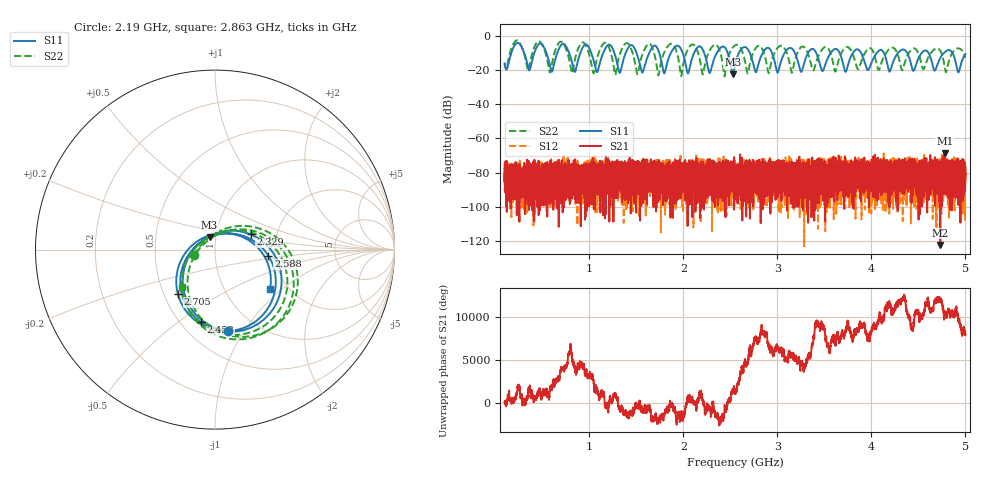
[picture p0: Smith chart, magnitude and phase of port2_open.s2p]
!Keysight Technologies N9917A: A.13.25
!Date: Thursday, 15 October 2026 16:17:29
!Timezone: (UTC-08:00) Pacific Time (US & Canada)
!Model: N9917A
!Serial: MY56072049
!GPS Latitude:
!GPS Longitude:
!GPS TimeStamp: 0001-01-01 00:00:00Z
!GPS Seconds Since Last Read: 0
!CHECKSUM:0928932487
!Correction: S11(Rdy)S21(Rdy)S12(Rdy)S22(Rdy)
!S2P File: Measurements:S11,S21,S12,S22:
# Hz S DB R 50
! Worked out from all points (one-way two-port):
!   10001 points, 100 MHz to 5 GHz, reference 50 ohm
!   highest |S21| = -68.65 dB at 4.779 GHz (marker M1); lowest = -122.4 dB at 4.733 GHz (marker M2)
!   lowest |S11| = -22.5 dB at 2.526 GHz (marker M3), VSWR 1.16, Z = 46.7 + j6.43 ohm
!   |S11| at or under -10 dB: 3.412 GHz to 3.569 GHz (157.1 MHz wide, 4.5 % of centre); 3.889 GHz to 4.06 GHz (170.5 MHz wide, 4.29 % of centre); 4.607 GHz to 4.774 GHz (166.2 MHz wide, 3.54 % of centre) (the widest 3 of 21)
!   |S22| runs from -23.8 to -2.8 dB; largest |S21 - S12| = 0.00046
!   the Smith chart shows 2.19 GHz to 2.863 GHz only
!   S11 on the Smith chart (normalised r, x): 2.19 GHz: 0.74, -0.85; 2.329 GHz: 1.47, +0.26; 2.453 GHz: 0.63, -0.61; 2.588 GHz: 1.84, -0.14; 2.705 GHz: 0.59, -0.32; 2.863 GHz: 1.62, -0.83
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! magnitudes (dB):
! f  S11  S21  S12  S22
! 100 MHz  -16.3  -81.7  -77.2  -16.4
! 584.1 MHz  -17.9  -81.6  -76.3  -21.5
! 698.8 MHz  -5.6  -92.4  -80.2  -3.5
! 818.3 MHz  -15.9  -87.0  -75.6  -21.9
! 916.8 MHz  -8.5  -88.5  -80.1  -4.3
! 1.278 GHz  -12.0  -78.2  -78.1  -23.0
! 1.642 GHz  -9.6  -85.0  -84.7  -4.8
! 1.734 GHz  -8.5  -73.8  -81.3  -23.2
! 1.87 GHz  -9.9  -84.7  -87.2  -4.7
! 2.19 GHz  -6.7  -73.5  -82.3  -18.4
! 2.329 GHz  -13.3  -86.9  -85.3  -5.5
! 2.453 GHz  -7.7  -72.6  -77.1  -19.4
! 2.526 GHz  -22.5  -82.0  -77.1  -7.0
! 2.55 GHz  -16.9  -81.9  -81.4  -5.7
! 2.588 GHz  -10.5  -86.4  -81.6  -5.8
! 2.705 GHz  -9.8  -88.1  -77.4  -17.2
! 2.863 GHz  -8.5  -76.3  -81.1  -11.1
! 3.367 GHz  -7.8  -80.1  -79.3  -18.4
! 4.184 GHz  -20.1  -76.5  -82.8  -8.2
! 4.733 GHz  -13.0  -122.4  -78.1  -8.8
! 4.779 GHz  -9.7  -68.6  -81.4  -18.2
! 5 GHz  -10.8  -80.1  -79.5  -13.0
